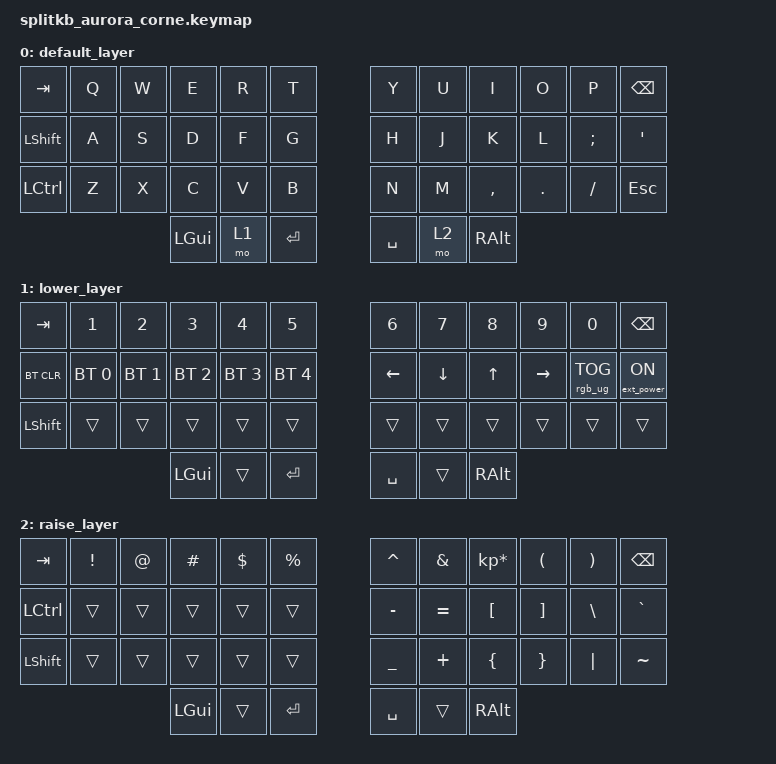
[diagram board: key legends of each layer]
/*
 * Copyright (c) 2020 The ZMK Contributors
 *
 * SPDX-License-Identifier: MIT
 */

#include <behaviors.dtsi>
#include <dt-bindings/zmk/keys.h>
#include <dt-bindings/zmk/bt.h>
#include <dt-bindings/zmk/rgb.h>
#include <dt-bindings/zmk/ext_power.h>

/ {
        keymap {
                compatible = "zmk,keymap";

                default_layer {
// -----------------------------------------------------------------------------------------
// |  TAB |  Q  |  W  |  E  |  R  |  T  |   |  Y  |  U   |  I  |  O  |  P  | BKSP |
// | SHFT |  A  |  S  |  D  |  F  |  G  |   |  H  |  J   |  K  |  L  |  ;  |  '   |
// | CTRL |  Z  |  X  |  C  |  V  |  B  |   |  N  |  M   |  ,  |  .  |  /  | ESC  |
//                    | GUI | LWR | ENT |   | SPC | RSE  | ALT |
                        bindings = <
   &kp TAB   &kp Q &kp W &kp E &kp R &kp T   &kp Y &kp U  &kp I     &kp O   &kp P    &kp BSPC
   &kp LSHFT &kp A &kp S &kp D &kp F &kp G   &kp H &kp J  &kp K     &kp L   &kp SEMI &kp SQT
   &kp LCTRL &kp Z &kp X &kp C &kp V &kp B   &kp N &kp M  &kp COMMA &kp DOT &kp FSLH &kp ESC
                   &kp LGUI &mo 1 &kp RET   &kp SPACE &mo 2 &kp RALT
                        >;
                };
                lower_layer {
// -----------------------------------------------------------------------------------------
// |  TAB |  1  |  2  |  3  |  4  |  5  |   |  6  |  7  |  8  |  9  |  0  | BKSP |
// | BTCLR| BT1 | BT2 | BT3 | BT4 | BT5 |   | LFT | DWN |  UP | RGT | RGB | PWR  |
// | SHFT |     |     |     |     |     |   |     |     |     |     |     |      |
//                    | GUI |     | ENT |   | SPC |     | ALT |
                        bindings = <
   &kp TAB    &kp N1       &kp N2       &kp N3       &kp N4       &kp N5         &kp N6   &kp N7   &kp N8 &kp N9    &kp N0 &kp BSPC
   &bt BT_CLR &bt BT_SEL 0 &bt BT_SEL 1 &bt BT_SEL 2 &bt BT_SEL 3 &bt BT_SEL 4   &kp LEFT &kp DOWN &kp UP &kp RIGHT &rgb_ug RGB_TOG &ext_power EP_ON
   &kp LSHFT  &trans       &trans       &trans       &trans       &trans         &trans   &trans   &trans &trans    &trans &trans
                                    &kp LGUI     &trans       &kp RET      &kp SPACE  &trans   &kp RALT
                        >;
                };

                raise_layer {
// -----------------------------------------------------------------------------------------
// |  TAB |  !  |  @  |  #  |  $  |  %  |   |  ^  |  &  |  *  |  (  |  )  | BKSP |
// | CTRL |     |     |     |     |     |   |  -  |  =  |  [  |  ]  |  \  |  `   |
// | SHFT |     |     |     |     |     |   |  _  |  +  |  {  |  }  | "|" |  ~   |
//                    | GUI |     | ENT |   | SPC |     | ALT |
                        bindings = <
   &kp  TAB  &kp EXCL &kp AT &kp HASH &kp DLLR &kp PRCNT   &kp CARET &kp AMPS  &kp KP_MULTIPLY &kp LPAR &kp RPAR &kp BSPC
   &kp LCTRL &trans   &trans &trans   &trans   &trans      &kp MINUS &kp EQUAL &kp LBKT        &kp RBKT &kp BSLH &kp GRAVE
   &kp LSHFT &trans   &trans &trans   &trans   &trans      &kp UNDER &kp PLUS  &kp LBRC        &kp RBRC &kp PIPE &kp TILDE
                             &kp LGUI &trans   &kp RET   &kp SPACE   &trans    &kp RALT
                        >;
                };
        };
};
